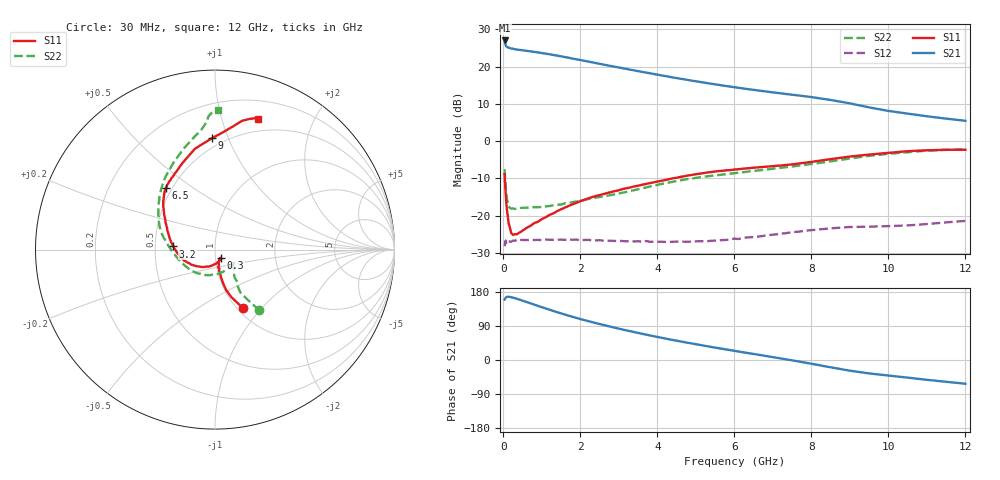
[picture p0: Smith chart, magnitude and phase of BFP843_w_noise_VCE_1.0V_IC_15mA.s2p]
! Infineon Technologies  Discrete & RF Semiconductors
! BFP843
! VCE =  1.0 V,  IC =  15 mA
! Common Emitter S-Parameters:  Aug 2013
# GHz  S  MA  R  50
!  f  S11  S21  S12  S22
! GHz  MAG  ANG  MAG  ANG  MAG  ANG  MAG  ANG
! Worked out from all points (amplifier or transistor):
!   103 points, 30 MHz to 12 GHz, reference 50 ohm
!   highest |S21| = 27.0 dB at 30 MHz (marker M1)
!   |S21| within 3 dB of that: start of sweep to 752 MHz
!   unconditionally stable (mu >= 1): 119.2 MHz to 11.11 GHz
!   at 400 MHz: K = 1.02, MAG = 24.7 dB, |S12| = -26.7 dB
!   at 3.7 GHz: K = 1.33, MAG = 19.2 dB, |S12| = -26.8 dB
!   at 12 GHz: K = 0.90, MSG = 13.4 dB, |S12| = -21.4 dB
!   lowest NFmin = 0.97 dB at 450 MHz
!   S11 on the Smith chart (normalised r, x): 30 MHz: 1.06, -0.79; 300 MHz: 1.06, -0.10; 3.2 GHz: 0.62, +0.02; 6.5 GHz: 0.46, +0.40; 9 GHz: 0.43, +0.87; 12 GHz: 0.37, +1.32
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0.03  0.3591 -64.6  22.52 159.5  0.0388 28.2  0.4198 -53.9
0.04  0.2783 -71.2  20.85 161.0  0.0413 20.7  0.3321 -57.0
0.05  0.2315 -74.7  19.95 163.7  0.045 13.2  0.2762 -59.4
0.07  0.1565 -77.7  18.85 165.5  0.0432 18.2  0.21 -55.1
0.1  0.1067 -76.8  18.31 166.7  0.0433 11.6  0.1551 -49.4
0.13  0.0823 -74.8  18.09 167.1  0.0452 7.0  0.136 -43.1
0.2  0.0584 -64.8  17.55 165.8  0.0444 6.5  0.1238 -32.8
0.3  0.0562 -53.4  17.14 163.1  0.0458 3.9  0.1225 -30.3
0.8  0.0794 -85.9  15.82 146.1  0.047 0.4  0.1297 -54.3
1.2  0.1024 -111.7  14.67 132.5  0.0474 0.2  0.1345 -79.5
1.6  0.1283 -132.3  13.48 119.8  0.0472 -1.4  0.146 -101.4
2.1  0.1625 -152.1  12.01 105.3  0.047 -1.7  0.1622 -124.9
2.7  0.2009 -170.8  10.43 89.9  0.0459 -3.1  0.1849 -147.9
3.2  0.2331 175.7  9.318 78.0  0.0451 -3.1  0.2084 -164.2
4.1  0.2928 155.8  7.651 58.8  0.0446 -2.2  0.2652 174.0
5  0.3593 142.6  6.371 41.6  0.045 1.0  0.3213 160.5
6.1  0.4195 132.4  5.213 22.5  0.0484 5.3  0.3757 147.0
6.5  0.4397 128.5  4.881 15.9  0.0515 5.7  0.3973 142.3
8.5  0.5732 101.2  3.573 -19.3  0.0674 -0.8  0.5347 115.9
9  0.6202 91.7  3.216 -28.2  0.0702 -4.0  0.5849 107.9
10.5  0.7333 78.1  2.342 -46.5  0.0737 -10.2  0.7098 93.9
12  0.7668 71.7  1.875 -62.6  0.0849 -16.1  0.7754 88.7
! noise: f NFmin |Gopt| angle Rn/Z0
0.45  0.97  0.07  -172  0.03
0.9  0.97  0.08  -164  0.06
1.5  0.99  0.08  -156  0.12
1.9  1.01  0.08  -146  0.18
2.4  1.04  0.07  -134  0.26
3.5  1.09  0.07  -115  0.29
5.5  1.2  0.21  -114  0.36
10  1.8  0.51  -63  0.48
